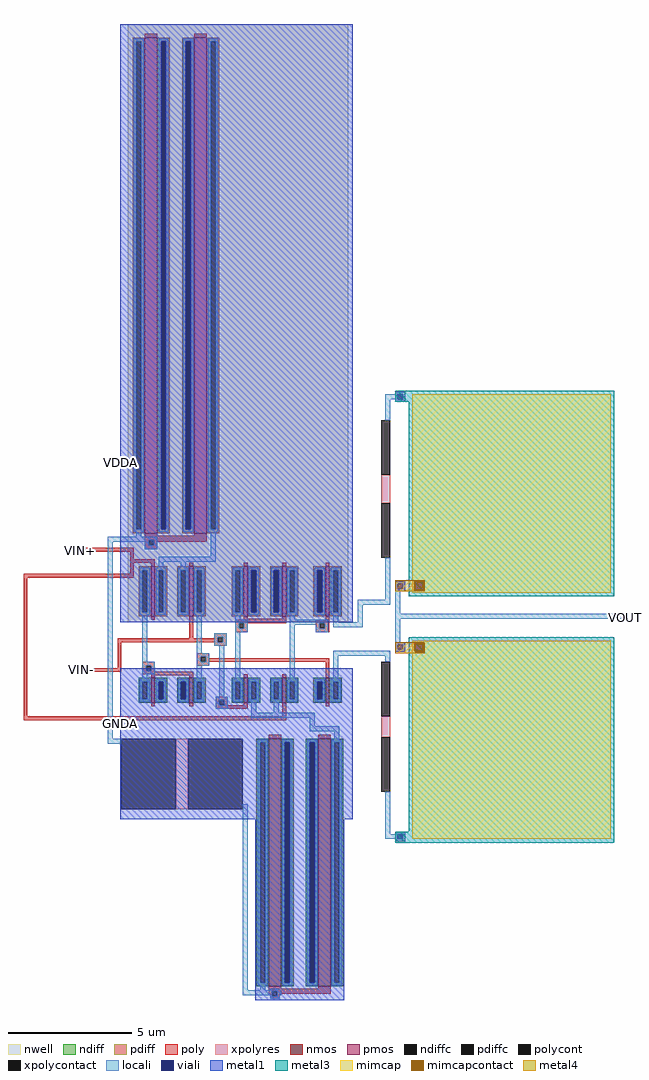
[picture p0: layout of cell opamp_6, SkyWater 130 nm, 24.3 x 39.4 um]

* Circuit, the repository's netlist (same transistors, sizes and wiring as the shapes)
* NGSPICE file created from opamp_6.ext - technology: sky130A

**.subckt opamp_6
X0 a_3720_n350# a_4140_n1070# VSUBS sky130_fd_pr__res_xhigh_po_0p35 l=1.01
X1 VDDA a_2930_n350# a_2930_n350# w_2090_300# sky130_fd_pr__pfet_01v8 ad=1 pd=5 as=1 ps=5 w=2 l=0.15
X2 a_3060_n350# VIN- a_2930_n350# VSUBS sky130_fd_pr__nfet_01v8 ad=0.5 pd=3 as=0.5 ps=3 w=1 l=0.15
X3 a_3370_n350# VIN+ a_3060_n350# VSUBS sky130_fd_pr__nfet_01v8 ad=0.5 pd=3 as=0.5 ps=3 w=1 l=0.15
X4 c1_4390_n1450# m3_4250_n1480# sky130_fd_pr__cap_mim_m3_1 l=8 w=8
X5 a_2620_n350# a_2180_n350# GNDA VSUBS sky130_fd_pr__nfet_01v8 ad=0.5 pd=3 as=0.5 ps=3 w=1 l=0.15
X6 GNDA a_2180_n350# a_2180_n350# VSUBS sky130_fd_pr__nfet_01v8 ad=0.5 pd=3 as=0.5 ps=3 w=1 l=0.15
X7 a_3060_n350# a_2580_n1210# GNDA VSUBS sky130_fd_pr__nfet_01v8 ad=5 pd=21 as=5 ps=21 w=10 l=0.5
X8 a_2620_n350# VIN- a_2310_350# w_2090_300# sky130_fd_pr__pfet_01v8 ad=1 pd=5 as=1 ps=5 w=2 l=0.15
X9 a_2040_n1210# a_2580_n1210# VSUBS sky130_fd_pr__res_xhigh_po_2p85 l=0.66
X10 a_2310_350# VIN+ a_2180_n350# w_2090_300# sky130_fd_pr__pfet_01v8 ad=1 pd=5 as=1 ps=5 w=2 l=0.15
X11 GNDA a_2580_n1210# a_2580_n1210# VSUBS sky130_fd_pr__nfet_01v8 ad=5 pd=21 as=5 ps=21 w=10 l=0.5
X12 a_3720_350# a_3370_n350# VDDA w_2090_300# sky130_fd_pr__pfet_01v8 ad=1 pd=5 as=1 ps=5 w=2 l=0.15
X13 VDDA a_2040_n1210# a_2040_n1210# w_2090_300# sky130_fd_pr__pfet_01v8 ad=10 pd=41 as=10 ps=41 w=20 l=0.5
X14 a_4140_1490# a_3720_350# VSUBS sky130_fd_pr__res_xhigh_po_0p35 l=1.31
X15 a_3720_n350# a_2620_n350# GNDA VSUBS sky130_fd_pr__nfet_01v8 ad=0.5 pd=3 as=0.5 ps=3 w=1 l=0.15
X16 a_2310_350# a_2040_n1210# VDDA w_2090_300# sky130_fd_pr__pfet_01v8 ad=10 pd=41 as=10 ps=41 w=20 l=0.5
X17 c1_4390_540# m3_4250_2080# sky130_fd_pr__cap_mim_m3_1 l=8 w=8
X18 a_3370_n350# a_2930_n350# VDDA w_2090_300# sky130_fd_pr__pfet_01v8 ad=1 pd=5 as=1 ps=5 w=2 l=0.15
.ends

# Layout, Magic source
magic
tech sky130A
<< nwell >>
rect 1045 150 1935 2565
<< nmos >>
rect 1140 -175 1155 -75
rect 1295 -175 1310 -75
rect 1515 -175 1530 -75
rect 1670 -175 1685 -75
rect 1845 -175 1860 -75
rect 1615 -1320 1665 -320
rect 1815 -1320 1865 -320
<< pmos >>
rect 1115 510 1165 2510
rect 1315 510 1365 2510
rect 1140 175 1155 375
rect 1295 175 1310 375
rect 1515 175 1530 375
rect 1670 175 1685 375
rect 1845 175 1860 375
<< ndiff >>
rect 1090 -90 1140 -75
rect 1090 -160 1105 -90
rect 1125 -160 1140 -90
rect 1090 -175 1140 -160
rect 1155 -90 1205 -75
rect 1155 -160 1170 -90
rect 1190 -160 1205 -90
rect 1155 -175 1205 -160
rect 1245 -90 1295 -75
rect 1245 -160 1260 -90
rect 1280 -160 1295 -90
rect 1245 -175 1295 -160
rect 1310 -90 1360 -75
rect 1310 -160 1325 -90
rect 1345 -160 1360 -90
rect 1465 -90 1515 -75
rect 1310 -175 1360 -160
rect 1465 -160 1480 -90
rect 1500 -160 1515 -90
rect 1465 -175 1515 -160
rect 1530 -90 1580 -75
rect 1530 -160 1545 -90
rect 1565 -160 1580 -90
rect 1530 -175 1580 -160
rect 1620 -90 1670 -75
rect 1620 -160 1635 -90
rect 1655 -160 1670 -90
rect 1620 -175 1670 -160
rect 1685 -90 1735 -75
rect 1685 -160 1700 -90
rect 1720 -160 1735 -90
rect 1685 -175 1735 -160
rect 1795 -90 1845 -75
rect 1795 -160 1810 -90
rect 1830 -160 1845 -90
rect 1795 -175 1845 -160
rect 1860 -90 1910 -75
rect 1860 -160 1875 -90
rect 1895 -160 1910 -90
rect 1860 -175 1910 -160
rect 1565 -335 1615 -320
rect 1565 -1305 1580 -335
rect 1600 -1305 1615 -335
rect 1565 -1320 1615 -1305
rect 1665 -335 1715 -320
rect 1665 -1305 1680 -335
rect 1700 -1305 1715 -335
rect 1665 -1320 1715 -1305
rect 1765 -335 1815 -320
rect 1765 -1305 1780 -335
rect 1800 -1305 1815 -335
rect 1765 -1320 1815 -1305
rect 1865 -335 1915 -320
rect 1865 -1305 1880 -335
rect 1900 -1305 1915 -335
rect 1865 -1320 1915 -1305
<< pdiff >>
rect 1065 2495 1115 2510
rect 1065 525 1080 2495
rect 1100 525 1115 2495
rect 1065 510 1115 525
rect 1165 2495 1215 2510
rect 1165 525 1180 2495
rect 1200 525 1215 2495
rect 1165 510 1215 525
rect 1265 2495 1315 2510
rect 1265 525 1280 2495
rect 1300 525 1315 2495
rect 1265 510 1315 525
rect 1365 2495 1415 2510
rect 1365 525 1380 2495
rect 1400 525 1415 2495
rect 1365 510 1415 525
rect 1090 360 1140 375
rect 1090 190 1105 360
rect 1125 190 1140 360
rect 1090 175 1140 190
rect 1155 360 1205 375
rect 1155 190 1170 360
rect 1190 190 1205 360
rect 1155 175 1205 190
rect 1245 360 1295 375
rect 1245 190 1260 360
rect 1280 190 1295 360
rect 1245 175 1295 190
rect 1310 360 1360 375
rect 1310 190 1325 360
rect 1345 190 1360 360
rect 1310 175 1360 190
rect 1465 360 1515 375
rect 1465 190 1480 360
rect 1500 190 1515 360
rect 1465 175 1515 190
rect 1530 360 1580 375
rect 1530 190 1545 360
rect 1565 190 1580 360
rect 1530 175 1580 190
rect 1620 360 1670 375
rect 1620 190 1635 360
rect 1655 190 1670 360
rect 1620 175 1670 190
rect 1685 360 1735 375
rect 1685 190 1700 360
rect 1720 190 1735 360
rect 1685 175 1735 190
rect 1795 360 1845 375
rect 1795 190 1810 360
rect 1830 190 1845 360
rect 1795 175 1845 190
rect 1860 360 1910 375
rect 1860 190 1875 360
rect 1895 190 1910 360
rect 1860 175 1910 190
<< ndiffc >>
rect 1105 -160 1125 -90
rect 1170 -160 1190 -90
rect 1260 -160 1280 -90
rect 1325 -160 1345 -90
rect 1480 -160 1500 -90
rect 1545 -160 1565 -90
rect 1635 -160 1655 -90
rect 1700 -160 1720 -90
rect 1810 -160 1830 -90
rect 1875 -160 1895 -90
rect 1580 -1305 1600 -335
rect 1680 -1305 1700 -335
rect 1780 -1305 1800 -335
rect 1880 -1305 1900 -335
<< pdiffc >>
rect 1080 525 1100 2495
rect 1180 525 1200 2495
rect 1280 525 1300 2495
rect 1380 525 1400 2495
rect 1105 190 1125 360
rect 1170 190 1190 360
rect 1260 190 1280 360
rect 1325 190 1345 360
rect 1480 190 1500 360
rect 1545 190 1565 360
rect 1635 190 1655 360
rect 1700 190 1720 360
rect 1810 190 1830 360
rect 1875 190 1895 360
<< poly >>
rect 1115 2510 1165 2525
rect 1315 2510 1365 2525
rect 1115 500 1165 510
rect 1315 500 1365 510
rect 1115 480 1365 500
rect 1115 460 1130 480
rect 1150 475 1365 480
rect 1150 460 1165 475
rect 855 435 1070 450
rect 1115 445 1165 460
rect 1055 405 1070 435
rect 1055 390 1155 405
rect 1055 345 1070 390
rect 1140 375 1155 390
rect 1295 375 1310 390
rect 1515 375 1530 390
rect 1670 375 1685 390
rect 1845 375 1860 390
rect 625 330 1070 345
rect 625 -230 640 330
rect 1140 160 1155 175
rect 1295 85 1310 175
rect 1515 165 1530 175
rect 1670 165 1685 175
rect 1515 160 1685 165
rect 1845 160 1860 175
rect 1480 145 1685 160
rect 1805 145 1860 160
rect 1480 125 1495 145
rect 1515 125 1530 145
rect 1480 110 1530 125
rect 1805 125 1820 145
rect 1840 125 1860 145
rect 1805 110 1860 125
rect 1395 90 1445 105
rect 1395 85 1410 90
rect 1005 70 1410 85
rect 1430 70 1445 90
rect 1005 -35 1020 70
rect 1395 55 1445 70
rect 1325 10 1375 25
rect 1325 -10 1340 10
rect 1360 5 1375 10
rect 1360 -10 1860 5
rect 860 -50 1020 -35
rect 1105 -25 1155 -10
rect 1325 -25 1375 -10
rect 1105 -45 1120 -25
rect 1140 -45 1155 -25
rect 1105 -50 1155 -45
rect 1105 -60 1310 -50
rect 1140 -65 1310 -60
rect 1140 -75 1155 -65
rect 1295 -75 1310 -65
rect 1515 -75 1530 -60
rect 1670 -75 1685 -60
rect 1845 -75 1860 -10
rect 1400 -165 1450 -150
rect 1140 -190 1155 -175
rect 1295 -190 1310 -175
rect 1400 -185 1415 -165
rect 1435 -185 1450 -165
rect 1515 -185 1530 -175
rect 1400 -200 1530 -185
rect 1670 -230 1685 -175
rect 1845 -190 1860 -175
rect 625 -245 1685 -230
rect 1615 -320 1665 -305
rect 1815 -320 1865 -305
rect 1615 -1330 1665 -1320
rect 1815 -1330 1865 -1320
rect 1615 -1340 1865 -1330
rect 1615 -1350 1630 -1340
rect 1620 -1360 1630 -1350
rect 1650 -1350 1865 -1340
rect 1650 -1360 1660 -1350
rect 1620 -1370 1660 -1360
<< polycont >>
rect 1130 460 1150 480
rect 1495 125 1515 145
rect 1820 125 1840 145
rect 1410 70 1430 90
rect 1340 -10 1360 10
rect 1120 -45 1140 -25
rect 1415 -185 1435 -165
rect 1630 -1360 1650 -1340
<< xpolycontact >>
rect 2070 745 2105 965
rect 2070 410 2105 630
rect 2070 -230 2105 -10
rect 1020 -605 1240 -320
rect 1290 -605 1510 -320
rect 2070 -535 2105 -315
<< xpolyres >>
rect 2070 630 2105 745
rect 2070 -315 2105 -230
rect 1240 -605 1290 -320
<< locali >>
rect 1070 2495 1110 2505
rect 1070 525 1080 2495
rect 1100 525 1110 2495
rect 1070 515 1110 525
rect 1170 2495 1210 2505
rect 1170 525 1180 2495
rect 1200 525 1210 2495
rect 1170 515 1210 525
rect 1270 2495 1310 2505
rect 1270 525 1280 2495
rect 1300 525 1310 2495
rect 1270 515 1310 525
rect 1370 2495 1410 2505
rect 1370 525 1380 2495
rect 1400 525 1410 2495
rect 2125 1070 2165 1080
rect 2085 1050 2135 1070
rect 2155 1050 2165 1070
rect 2085 965 2105 1050
rect 2125 1040 2165 1050
rect 1370 515 1410 525
rect 1080 495 1100 515
rect 965 480 1165 495
rect 965 475 1130 480
rect 965 -320 985 475
rect 1115 460 1130 475
rect 1150 460 1165 480
rect 1115 445 1165 460
rect 1380 415 1400 515
rect 1170 395 1400 415
rect 1170 370 1190 395
rect 1260 370 1280 395
rect 1095 360 1135 370
rect 1095 190 1105 360
rect 1125 190 1135 360
rect 1095 180 1135 190
rect 1160 360 1200 370
rect 1160 190 1170 360
rect 1190 190 1200 360
rect 1160 180 1200 190
rect 1250 360 1290 370
rect 1250 190 1260 360
rect 1280 190 1290 360
rect 1250 180 1290 190
rect 1315 360 1355 370
rect 1315 190 1325 360
rect 1345 190 1355 360
rect 1315 180 1355 190
rect 1470 360 1510 370
rect 1470 190 1480 360
rect 1500 190 1510 360
rect 1470 180 1510 190
rect 1535 360 1575 370
rect 1535 190 1545 360
rect 1565 190 1575 360
rect 1535 180 1575 190
rect 1625 360 1665 370
rect 1625 190 1635 360
rect 1655 190 1665 360
rect 1625 180 1665 190
rect 1690 360 1730 370
rect 1690 190 1700 360
rect 1720 190 1730 360
rect 1690 180 1730 190
rect 1800 360 1840 370
rect 1800 190 1810 360
rect 1830 190 1840 360
rect 1800 180 1840 190
rect 1865 360 1905 370
rect 1865 190 1875 360
rect 1895 190 1905 360
rect 2085 240 2105 410
rect 1865 180 1905 190
rect 1975 220 2105 240
rect 2125 305 2165 315
rect 2125 285 2135 305
rect 2155 285 2165 305
rect 2125 275 2165 285
rect 1105 -10 1125 180
rect 1325 25 1345 180
rect 1480 160 1500 180
rect 1700 160 1720 180
rect 1480 145 1530 160
rect 1480 125 1495 145
rect 1515 125 1530 145
rect 1480 110 1530 125
rect 1700 145 1855 160
rect 1700 140 1820 145
rect 1395 90 1445 105
rect 1395 70 1410 90
rect 1430 70 1445 90
rect 1395 55 1445 70
rect 1325 10 1375 25
rect 1325 -10 1340 10
rect 1360 -10 1375 10
rect 1105 -25 1155 -10
rect 1105 -45 1120 -25
rect 1140 -45 1155 -25
rect 1105 -60 1155 -45
rect 1325 -25 1375 -10
rect 1105 -80 1125 -60
rect 1325 -80 1345 -25
rect 1095 -90 1135 -80
rect 1095 -160 1105 -90
rect 1125 -160 1135 -90
rect 1095 -170 1135 -160
rect 1160 -90 1200 -80
rect 1160 -160 1170 -90
rect 1190 -160 1200 -90
rect 1160 -170 1200 -160
rect 1250 -90 1290 -80
rect 1250 -160 1260 -90
rect 1280 -160 1290 -90
rect 1250 -170 1290 -160
rect 1315 -90 1355 -80
rect 1315 -160 1325 -90
rect 1345 -160 1355 -90
rect 1415 -150 1435 55
rect 1480 -80 1500 110
rect 1700 -80 1720 140
rect 1805 125 1820 140
rect 1840 125 1855 145
rect 1875 150 1895 180
rect 1975 150 1995 220
rect 1875 130 1995 150
rect 2125 185 2145 275
rect 2125 165 3055 185
rect 1805 110 1855 125
rect 2125 70 2145 165
rect 2125 60 2165 70
rect 2125 40 2135 60
rect 2155 40 2165 60
rect 1875 15 2105 35
rect 2125 30 2165 40
rect 1875 -80 1895 15
rect 2085 -10 2105 15
rect 1470 -90 1510 -80
rect 1315 -170 1355 -160
rect 1400 -165 1450 -150
rect 1400 -185 1415 -165
rect 1435 -185 1450 -165
rect 1470 -160 1480 -90
rect 1500 -160 1510 -90
rect 1470 -170 1510 -160
rect 1535 -90 1575 -80
rect 1535 -160 1545 -90
rect 1565 -160 1575 -90
rect 1535 -170 1575 -160
rect 1625 -90 1665 -80
rect 1625 -160 1635 -90
rect 1655 -160 1665 -90
rect 1625 -170 1665 -160
rect 1690 -90 1730 -80
rect 1690 -160 1700 -90
rect 1720 -160 1730 -90
rect 1690 -170 1730 -160
rect 1800 -90 1840 -80
rect 1800 -160 1810 -90
rect 1830 -160 1840 -90
rect 1800 -170 1840 -160
rect 1865 -90 1905 -80
rect 1865 -160 1875 -90
rect 1895 -160 1905 -90
rect 1865 -170 1905 -160
rect 1400 -200 1450 -185
rect 1545 -215 1565 -170
rect 1635 -215 1655 -170
rect 1545 -235 1800 -215
rect 1780 -270 1800 -235
rect 1780 -290 1900 -270
rect 965 -340 1020 -320
rect 1880 -325 1900 -290
rect 1570 -335 1610 -325
rect 1510 -1335 1530 -585
rect 1570 -1305 1580 -335
rect 1600 -1305 1610 -335
rect 1570 -1315 1610 -1305
rect 1670 -335 1710 -325
rect 1670 -1305 1680 -335
rect 1700 -1305 1710 -335
rect 1670 -1315 1710 -1305
rect 1770 -335 1810 -325
rect 1770 -1305 1780 -335
rect 1800 -1305 1810 -335
rect 1770 -1315 1810 -1305
rect 1870 -335 1910 -325
rect 1870 -1305 1880 -335
rect 1900 -1305 1910 -335
rect 2085 -705 2105 -535
rect 2125 -705 2165 -695
rect 2085 -725 2135 -705
rect 2155 -725 2165 -705
rect 2125 -735 2165 -725
rect 1870 -1315 1910 -1305
rect 1580 -1335 1600 -1315
rect 1620 -1335 1660 -1330
rect 1510 -1340 1665 -1335
rect 1510 -1355 1630 -1340
rect 1620 -1360 1630 -1355
rect 1650 -1355 1665 -1340
rect 1650 -1360 1660 -1355
rect 1620 -1370 1660 -1360
<< viali >>
rect 1180 525 1200 2495
rect 1280 525 1300 2495
rect 2135 1050 2155 1070
rect 1545 190 1565 360
rect 1635 190 1655 360
rect 1810 190 1830 360
rect 2135 285 2155 305
rect 1170 -160 1190 -90
rect 1260 -160 1280 -90
rect 2135 40 2155 60
rect 1810 -160 1830 -90
rect 1680 -1305 1700 -335
rect 1780 -1305 1800 -335
rect 2135 -725 2155 -705
<< metal1 >>
rect 1015 2495 1955 2565
rect 1015 525 1180 2495
rect 1200 525 1280 2495
rect 1300 525 1955 2495
rect 2125 1070 2165 1080
rect 2125 1050 2135 1070
rect 2155 1050 2165 1070
rect 2125 1040 2165 1050
rect 1015 360 1955 525
rect 1015 190 1545 360
rect 1565 190 1635 360
rect 1655 190 1810 360
rect 1830 190 1955 360
rect 2125 305 2165 315
rect 2125 285 2135 305
rect 2155 285 2165 305
rect 2125 275 2165 285
rect 1015 150 1955 190
rect 2125 60 2165 70
rect 2125 40 2135 60
rect 2155 40 2165 60
rect 2125 30 2165 40
rect 1015 -90 1955 -35
rect 1015 -160 1170 -90
rect 1190 -160 1260 -90
rect 1280 -160 1810 -90
rect 1830 -160 1955 -90
rect 1015 -335 1955 -160
rect 1015 -645 1680 -335
rect 1560 -1305 1680 -645
rect 1700 -1305 1780 -335
rect 1800 -645 1955 -335
rect 1800 -1305 1920 -645
rect 2125 -705 2165 -695
rect 2125 -725 2135 -705
rect 2155 -725 2165 -705
rect 2125 -735 2165 -725
rect 1560 -1375 1920 -1305
<< metal3 >>
rect 2125 1040 3010 1085
rect 2180 255 3010 1040
rect 2180 -695 3010 90
rect 2125 -740 3010 -695
<< mimcap >>
rect 2195 315 2995 1070
rect 2195 280 2205 315
rect 2240 280 2995 315
rect 2195 270 2995 280
rect 2195 65 2995 75
rect 2195 30 2205 65
rect 2240 30 2995 65
rect 2195 -725 2995 30
<< mimcapcontact >>
rect 2205 280 2240 315
rect 2205 30 2240 65
<< metal4 >>
rect 2125 315 2245 320
rect 2125 280 2205 315
rect 2240 280 2245 315
rect 2125 275 2245 280
rect 2125 65 2245 70
rect 2125 30 2205 65
rect 2240 30 2245 65
rect 2125 25 2245 30
<< labels >>
flabel locali 3055 170 3055 170 3 FreeSans 400 0 0 0 VOUT
flabel poly 860 -40 860 -40 7 FreeSans 400 0 0 0 VIN-
flabel metal1 1015 -260 1015 -260 7 FreeSans 400 0 0 0 GNDA
flabel poly 855 440 855 440 7 FreeSans 400 0 0 0 VIN+
flabel metal1 1015 795 1015 795 7 FreeSans 400 0 0 0 VDDA
<< end >>
